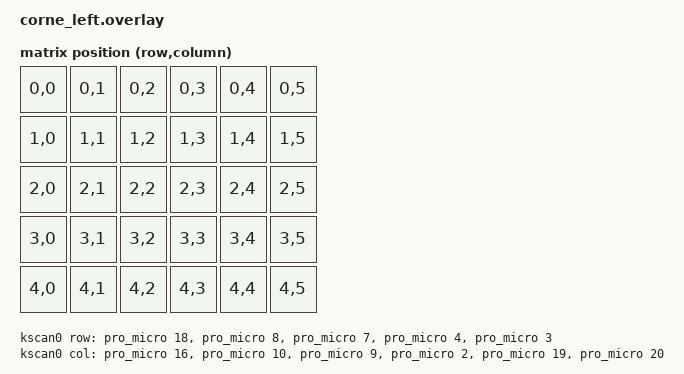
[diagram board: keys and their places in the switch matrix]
#include <dt-bindings/zmk/matrix_transform.h>
#include <zephyr/dt-bindings/mipi_dbi/mipi_dbi.h>
/ {
    chosen {
        zmk,kscan = &kscan0;
        zmk,matrix_transform = &default_transform;
        /delete-property/ zmk,kscan;
    };

    kscan0: kscan {
        compatible = "zmk,kscan-gpio-matrix";
        wakeup-source;
        diode-direction = "col2row";
        row-gpios
            = <&pro_micro 18 (GPIO_ACTIVE_HIGH | GPIO_PULL_DOWN)> // Row A from the schematic file
            , <&pro_micro 8 (GPIO_ACTIVE_HIGH | GPIO_PULL_DOWN)> // Row B from the schematic file
            , <&pro_micro 7 (GPIO_ACTIVE_HIGH | GPIO_PULL_DOWN)> // Row C from the schematic file
            , <&pro_micro 4 (GPIO_ACTIVE_HIGH | GPIO_PULL_DOWN)> // Row D from the schematic file
            , <&pro_micro 3 (GPIO_ACTIVE_HIGH | GPIO_PULL_DOWN)> // Row E from the schematic file
            ;

        col-gpios
            = <&pro_micro 16 GPIO_ACTIVE_HIGH>
            , <&pro_micro 10 GPIO_ACTIVE_HIGH>
            , <&pro_micro 9 GPIO_ACTIVE_HIGH>
            , <&pro_micro 2 GPIO_ACTIVE_HIGH>
            , <&pro_micro 19 GPIO_ACTIVE_HIGH>
            , <&pro_micro 20 GPIO_ACTIVE_HIGH>
            ;
    };

    default_transform: keymap_transform_0 {
        compatible = "zmk,matrix-transform";
        rows = <5>;
        columns = <6>;

        map = <
            RC(0,0) RC(0,1) RC(0,2) RC(0,3) RC(0,4) RC(0,5)                 
            RC(1,0) RC(1,1) RC(1,2) RC(1,3) RC(1,4) RC(1,5)              
            RC(2,0) RC(2,1) RC(2,2) RC(2,3) RC(2,4) RC(2,5)              
            RC(3,0) RC(3,1) RC(3,2) RC(3,3) RC(3,4) RC(3,5)                
            RC(4,0) RC(4,1) RC(4,2) RC(4,3) RC(4,4) RC(4,5)                      
        >;
    };
};

&i2c0 {
    status = "disabled";
};

&pinctrl {
    spi1_default: spi1_default {
        group1 {
            psels = <NRF_PSEL(SPIM_SCK, 1, 4)>,   /* D8 / P1.04 -> SCL */
                    <NRF_PSEL(SPIM_MOSI, 0, 9)>;  /* D10 / P0.09 -> SDA */
        };
    };

    spi1_sleep: spi1_sleep {
        group1 {
            psels = <NRF_PSEL(SPIM_SCK, 1, 4)>,
                    <NRF_PSEL(SPIM_MOSI, 0, 9)>;
            low-power-enable;
        };
    };

    pwm0_default: pwm0_default {
        group1 {
            psels = <NRF_PSEL(PWM_OUT0, 1, 0)>;   /* D6 / P1.00 -> BLK */
        };
    };

    pwm0_sleep: pwm0_sleep {
        group1 {
            psels = <NRF_PSEL(PWM_OUT0, 1, 0)>;
            low-power-enable;
        };
    };
};

&pwm0 {
    status = "okay";
    pinctrl-0 = <&pwm0_default>;
    pinctrl-1 = <&pwm0_sleep>;
    pinctrl-names = "default", "sleep";
};

&spi1 {
    status = "okay";
    pinctrl-0 = <&spi1_default>;
    pinctrl-1 = <&spi1_sleep>;
    pinctrl-names = "default", "sleep";
    cs-gpios = <&gpio1 6 GPIO_ACTIVE_LOW>;        /* D9 / P1.06 -> CS */
};

/ {
    pwmleds {
        compatible = "pwm-leds";
        disp_bl: pwm_led_0 {
            pwms = <&pwm0 0 PWM_MSEC(1) PWM_POLARITY_NORMAL>;
        };
    };

    mipi_dbi {
        compatible = "zephyr,mipi-dbi-spi";
        spi-dev = <&spi1>;
        dc-gpios = <&gpio0 11 GPIO_ACTIVE_HIGH>;  /* D7 / P0.11 -> DC */
        reset-gpios = <&gpio0 20 GPIO_ACTIVE_LOW>; /* D3 / P0.20 -> RES */
        write-only;
        #address-cells = <1>;
        #size-cells = <0>;

        st7789: st7789v@0 {
            compatible = "sitronix,st7789v";
            mipi-max-frequency = <8000000>;
            reg = <0>;
            width = <240>;
            height = <280>;
            x-offset = <0>;
            y-offset = <20>;
            vcom = <0x19>;
            gctrl = <0x35>;
            vrhs = <0x12>;
            vdvs = <0x20>;
            mdac = <0x00>;
            gamma = <0x01>;
            colmod = <0x05>;
            lcm = <0x2c>;
            porch-param = [0c 0c 00 33 33];
            cmd2en-param = [5a 69 02 01];
            pwctrl1-param = [a4 a1];
            pvgam-param = [D0 04 0D 11 13 2B 3F 54 4C 18 0D 0B 1F 23];
            nvgam-param = [D0 04 0C 11 13 2C 3F 44 51 2F 1F 1F 20 23];
            ram-param = [00 F0];
            rgb-param = [CD 08 14];
            mipi-mode = "MIPI_DBI_MODE_SPI_4WIRE";
        };
    };
};

&kscan0 {
    status = "disabled";
};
